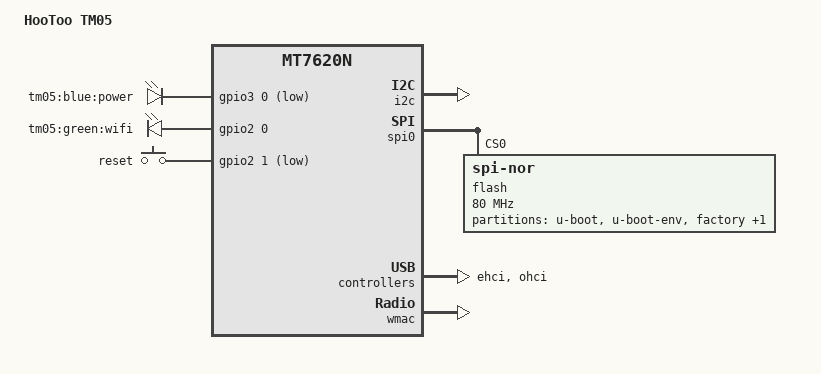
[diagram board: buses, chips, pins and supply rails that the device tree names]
/*
 * Device Tree file for the HooToo TM-05
 *
 * Copyright (C) 2020 Russell Morris (rmorris@rkmorris.us)
 * 
 * This program is free software: you can redistribute it and/or modify it under the terms of the GNU General Public License as published by the Free Software Foundation, either version 3 of the License, or (at your option) any later version.
 * 
 * This program is distributed in the hope that it will be useful, but WITHOUT ANY WARRANTY; without even the implied warranty of MERCHANTABILITY or FITNESS FOR A PARTICULAR PURPOSE. See the GNU General Public License for more details.
 * 
 * You should have received a copy of the GNU General Public License along with this program. If not, see <https://www.gnu.org/licenses/>.
 *
 */

/dts-v1/;

#include "mt7620n.dtsi"

#include <dt-bindings/gpio/gpio.h>
#include <dt-bindings/input/input.h>

/ {
	compatible = "hootoo,tm05", "ralink,mt7620n-soc";
	model = "HooToo TM05";

	aliases {
		led-boot = &led_power;
		led-failsafe = &led_power;
		led-running = &led_power;
		led-upgrade = &led_power;
		label-mac-device = &ethernet;
	};

	chosen {
		bootargs = "console=ttyS0,115200";
	};

	leds {
		compatible = "gpio-leds";

		led_power: power {
			label = "tm05:blue:power";
			gpios = <&gpio3 0 GPIO_ACTIVE_LOW>;
			default-state = "on";
		};

		wifi {
			label = "tm05:green:wifi";
			gpios = <&gpio2 0 GPIO_ACTIVE_HIGH>;
			linux,default-trigger = "phy0tpt";
		};
	};

	keys {
		compatible = "gpio-keys";

		reset {
			label = "reset";
			gpios = <&gpio2 1 GPIO_ACTIVE_LOW>;
			linux,code = <KEY_RESTART>;
		};
	};
};

&gpio2 {
	status = "okay";
};

&gpio3 {
	status = "okay";
};

&i2c {
	status = "okay";
};

&spi0 {
	status = "okay";

	flash@0 {
		compatible = "jedec,spi-nor";
		reg = <0>;
		spi-max-frequency = <80000000>;

		partitions {
			compatible = "fixed-partitions";
			#address-cells = <1>;
			#size-cells = <1>;

			partition@0 {
				label = "u-boot";
				reg = <0x0 0x30000>;
				read-only;
			};

			partition@30000 {
				label = "u-boot-env";
				reg = <0x30000 0x10000>;
				read-only;
			};

			factory: partition@40000 {
				label = "factory";
				reg = <0x40000 0x10000>;
				read-only;
			};

			partition@50000 {
				compatible = "denx,uimage";
				label = "firmware";
				reg = <0x50000 0x7b0000>;
			};
		};
	};
};

&ehci {
	status = "okay";
};

&ohci {
	status = "okay";
};

&ethernet {
	mtd-mac-address = <&factory 0x28>;
};

&wmac {
	ralink,mtd-eeprom = <&factory 0x0>;
};

&state_default {
	gpio {
		ralink,group = "wled","ephy";
		ralink,function = "gpio";
	};
};
